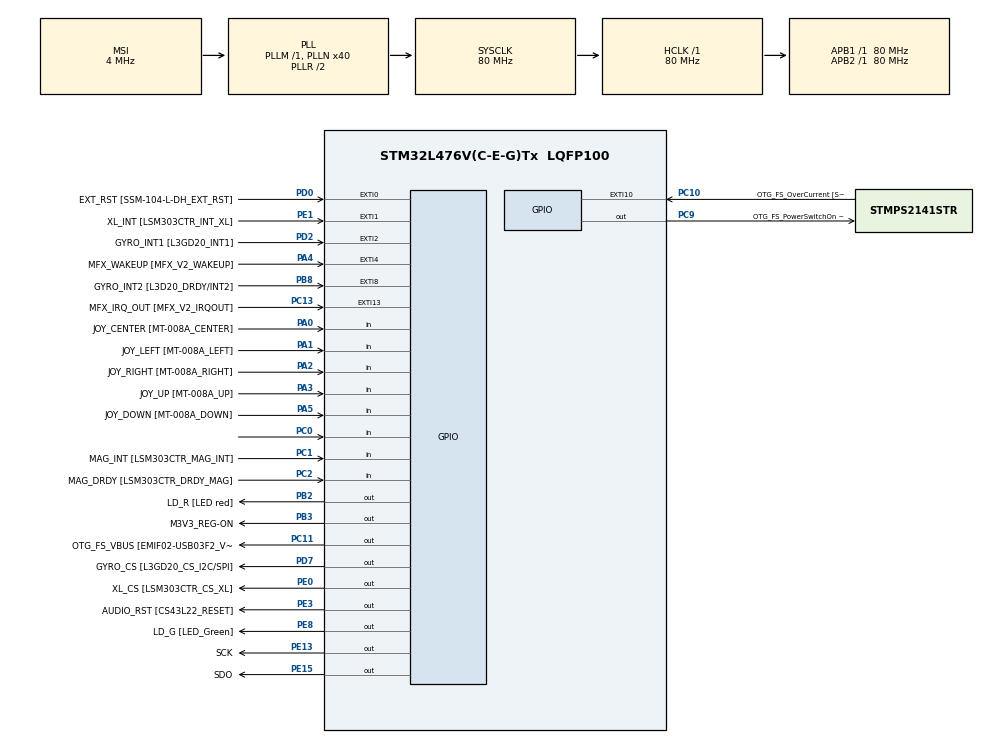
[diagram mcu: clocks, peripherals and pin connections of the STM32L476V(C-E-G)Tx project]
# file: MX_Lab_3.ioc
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Mcu.Family=STM32L4
Mcu.Name=STM32L476V(C-E-G)Tx
Mcu.Package=LQFP100
NVIC.PriorityGroup=NVIC_PRIORITYGROUP_4
PA0.GPIO_Label=JOY_CENTER [MT-008A_CENTER]
PA0.GPIO_Mode=GPIO_MODE_INPUT
PA0.GPIO_PuPd=GPIO_PULLDOWN
PA0.Signal=GPIO_Input
PA1.GPIO_Label=JOY_LEFT [MT-008A_LEFT]
PA1.GPIO_Mode=GPIO_MODE_INPUT
PA1.GPIO_PuPd=GPIO_PULLDOWN
PA1.Signal=GPIO_Input
PA10.GPIO_Label=COM2 [GH08172T_COM2]
PA10.GPIO_Mode=GPIO_MODE_AF_PP
PA10.GPIO_PuPd=GPIO_NOPULL
PA10.GPIO_Speed=GPIO_SPEED_FREQ_LOW
PA10.Signal=LCD_COM2
PA11.GPIO_Label=OTG_FS_DM [EMIF02-USB03F2_D-out]
PA11.GPIO_Mode=GPIO_MODE_AF_PP
PA11.GPIO_PuPd=GPIO_NOPULL
PA11.GPIO_Speed=GPIO_SPEED_FREQ_VERY_HIGH
PA11.Signal=USB_OTG_FS_DM
PA12.GPIO_Label=OTG_FS_DP [EMIF02-USB03F2_D+out]
PA12.GPIO_Mode=GPIO_MODE_AF_PP
PA12.GPIO_PuPd=GPIO_NOPULL
PA12.GPIO_Speed=GPIO_SPEED_FREQ_VERY_HIGH
PA12.Signal=USB_OTG_FS_DP
PA13\ (JTMS-SWDIO).GPIO_Label=SWDIO
PA13\ (JTMS-SWDIO).Mode=Serial_Wire
PA13\ (JTMS-SWDIO).Signal=SYS_JTMS-SWDIO
PA14\ (JTCK-SWCLK).GPIO_Label=SWCLK
PA14\ (JTCK-SWCLK).Mode=Serial_Wire
PA14\ (JTCK-SWCLK).Signal=SYS_JTCK-SWCLK
PA15\ (JTDI).GPIO_Label=SEG10 [GH08172T_SEG10]
PA15\ (JTDI).GPIO_Mode=GPIO_MODE_AF_PP
PA15\ (JTDI).GPIO_PuPd=GPIO_NOPULL
PA15\ (JTDI).GPIO_Speed=GPIO_SPEED_FREQ_LOW
PA15\ (JTDI).Signal=LCD_SEG17
PA2.GPIO_Label=JOY_RIGHT [MT-008A_RIGHT]
PA2.GPIO_Mode=GPIO_MODE_INPUT
PA2.GPIO_PuPd=GPIO_PULLDOWN
PA2.Signal=GPIO_Input
PA3.GPIO_Label=JOY_UP [MT-008A_UP]
PA3.GPIO_Mode=GPIO_MODE_INPUT
PA3.GPIO_PuPd=GPIO_PULLDOWN
PA3.Signal=GPIO_Input
PA4.GPIO_Label=MFX_WAKEUP [MFX_V2_WAKEUP]
PA4.GPIO_ModeDefaultEXTI=GPIO_MODE_EVT_RISING
PA4.GPIO_PuPd=GPIO_NOPULL
PA4.Signal=GPXTI4
PA5.GPIO_Label=JOY_DOWN [MT-008A_DOWN]
PA5.GPIO_Mode=GPIO_MODE_INPUT
PA5.GPIO_PuPd=GPIO_PULLDOWN
PA5.Signal=GPIO_Input
PA6.GPIO_Label=SEG23 [GH08172T_SEG23]
PA6.GPIO_Mode=GPIO_MODE_AF_PP
PA6.GPIO_PuPd=GPIO_NOPULL
PA6.GPIO_Speed=GPIO_SPEED_FREQ_LOW
PA6.Signal=LCD_SEG3
PA7.GPIO_Label=SEG0 [GH08172T_SEG0]
PA7.GPIO_Mode=GPIO_MODE_AF_PP
PA7.GPIO_PuPd=GPIO_NOPULL
PA7.GPIO_Speed=GPIO_SPEED_FREQ_LOW
PA7.Signal=LCD_SEG4
PA8.GPIO_Label=COM0 [GH08172T_COM0]
PA8.GPIO_Mode=GPIO_MODE_AF_PP
PA8.GPIO_PuPd=GPIO_NOPULL
PA8.GPIO_Speed=GPIO_SPEED_FREQ_LOW
PA8.Signal=LCD_COM0
PA9.GPIO_Label=COM1 [GH08172T_COM1]
PA9.GPIO_Mode=GPIO_MODE_AF_PP
PA9.GPIO_PuPd=GPIO_NOPULL
PA9.GPIO_Speed=GPIO_SPEED_FREQ_LOW
PA9.Signal=LCD_COM1
PB0.GPIO_Label=SEG21 [GH08172T_SEG21]
PB0.GPIO_Mode=GPIO_MODE_AF_PP
PB0.GPIO_PuPd=GPIO_NOPULL
PB0.GPIO_Speed=GPIO_SPEED_FREQ_LOW
PB0.Signal=LCD_SEG5
PB1.GPIO_Label=SEG2 [GH08172T_SEG2]
PB1.GPIO_Mode=GPIO_MODE_AF_PP
PB1.GPIO_PuPd=GPIO_NOPULL
PB1.GPIO_Speed=GPIO_SPEED_FREQ_LOW
PB1.Signal=LCD_SEG6
PB10.GPIO_Label=MFX_I2C_SLC [MFX_V2_I2C_SCL]
PB10.GPIO_Mode=GPIO_MODE_AF_OD
PB10.GPIO_Pu=GPIO_PULLUP
PB10.GPIO_Speed=GPIO_SPEED_FREQ_VERY_HIGH
PB10.Signal=I2C2_SCL
PB11.GPIO_Label=MFX_I2C_SDA [MFX_V2_I2C_SDA]
PB11.GPIO_Mode=GPIO_MODE_AF_OD
PB11.GPIO_Pu=GPIO_PULLUP
PB11.GPIO_Speed=GPIO_SPEED_FREQ_VERY_HIGH
PB11.Signal=I2C2_SDA
PB12.GPIO_Label=SEG20 [GH08172T_SEG20]
PB12.GPIO_Mode=GPIO_MODE_AF_PP
PB12.GPIO_PuPd=GPIO_NOPULL
PB12.GPIO_Speed=GPIO_SPEED_FREQ_LOW
PB12.Signal=LCD_SEG12
PB13.GPIO_Label=SEG3 [GH08172T_SEG3]
PB13.GPIO_Mode=GPIO_MODE_AF_PP
PB13.GPIO_PuPd=GPIO_NOPULL
PB13.GPIO_Speed=GPIO_SPEED_FREQ_LOW
PB13.Signal=LCD_SEG13
PB14.GPIO_Label=SEG19 [GH08172T_SEG19]
PB14.GPIO_Mode=GPIO_MODE_AF_PP
PB14.GPIO_PuPd=GPIO_NOPULL
PB14.GPIO_Speed=GPIO_SPEED_FREQ_LOW
PB14.Signal=LCD_SEG14
PB15.GPIO_Label=SEG4 [GH08172T_SEG4]
PB15.GPIO_Mode=GPIO_MODE_AF_PP
PB15.GPIO_PuPd=GPIO_NOPULL
PB15.GPIO_Speed=GPIO_SPEED_FREQ_LOW
PB15.Signal=LCD_SEG15
PB2.GPIO_Label=LD_R [LED red]
PB2.GPIO_ModeDefaultOutputPP=GPIO_MODE_OUTPUT_PP
PB2.GPIO_PuPd=GPIO_PULLUP
PB2.GPIO_Speed=GPIO_SPEED_FREQ_VERY_HIGH
PB2.Signal=GPIO_Output
PB3\ (JTDO-TRACESWO).GPIO_Label=M3V3_REG-ON
PB3\ (JTDO-TRACESWO).GPIO_ModeDefaultOutputPP=GPIO_MODE_OUTPUT_PP
PB3\ (JTDO-TRACESWO).GPIO_PuPd=GPIO_NOPULL
PB3\ (JTDO-TRACESWO).GPIO_Speed=GPIO_SPEED_FREQ_LOW
PB3\ (JTDO-TRACESWO).Signal=GPIO_Output
PB4\ (NJTRST).GPIO_Label=SEG11 [GH08172T_SEG11]
PB4\ (NJTRST).GPIO_Mode=GPIO_MODE_AF_PP
PB4\ (NJTRST).GPIO_PuPd=GPIO_NOPULL
PB4\ (NJTRST).GPIO_Speed=GPIO_SPEED_FREQ_LOW
PB4\ (NJTRST).Signal=LCD_SEG8
PB5.GPIO_Label=SEG12 [GH08172T_SEG12]
PB5.GPIO_Mode=GPIO_MODE_AF_PP
PB5.GPIO_PuPd=GPIO_NOPULL
PB5.GPIO_Speed=GPIO_SPEED_FREQ_LOW
PB5.Signal=LCD_SEG9
PB6.GPIO_FM6=__NULL
PB6.GPIO_Label=I2C1_SCL [SSM-104-L-DH_SCL]
PB6.GPIO_Mode=GPIO_MODE_AF_OD
PB6.GPIO_Pu=GPIO_PULLUP
PB6.GPIO_Speed=GPIO_SPEED_FREQ_VERY_HIGH
PB6.Signal=I2C1_SCL
PB7.GPIO_FM7=__NULL
PB7.GPIO_Label=I2C1_SDA [SSM-104-L-DH_SDA]
PB7.GPIO_Mode=GPIO_MODE_AF_OD
PB7.GPIO_Pu=GPIO_PULLUP
PB7.GPIO_Speed=GPIO_SPEED_FREQ_VERY_HIGH
PB7.Signal=I2C1_SDA
PB8.GPIO_Label=GYRO_INT2 [L3D20_DRDY/INT2]
PB8.GPIO_ModeDefaultEXTI=GPIO_MODE_EVT_RISING
PB8.GPIO_PuPd=GPIO_NOPULL
PB8.Signal=GPXTI8
PB9.GPIO_FM9=__NULL
PB9.GPIO_Label=COM3 [GH08172T_COM3]
PB9.GPIO_Mode=GPIO_MODE_AF_PP
PB9.GPIO_PuPd=GPIO_NOPULL
PB9.GPIO_Speed=GPIO_SPEED_FREQ_LOW
PB9.Signal=LCD_COM3
PC0.Signal=GPIO_Input
PC1.GPIO_Label=MAG_INT [LSM303CTR_MAG_INT]
PC1.GPIO_Mode=GPIO_MODE_INPUT
PC1.GPIO_PuPd=GPIO_NOPULL
PC1.Signal=GPIO_Input
PC10.GPIO_Label=OTG_FS_OverCurrent [STMPS2141STR_FAULT]
PC10.GPIO_ModeDefaultEXTI=GPIO_MODE_EVT_RISING
PC10.GPIO_PuPd=GPIO_NOPULL
PC10.Signal=GPXTI10
PC11.GPIO_Label=OTG_FS_VBUS [EMIF02-USB03F2_Vbus]
PC11.GPIO_ModeDefaultOutputPP=GPIO_MODE_OUTPUT_PP
PC11.GPIO_PuPd=GPIO_NOPULL
PC11.GPIO_Speed=GPIO_SPEED_FREQ_LOW
PC11.Signal=GPIO_Output
PC13.GPIO_Label=MFX_IRQ_OUT [MFX_V2_IRQOUT]
PC13.GPIO_ModeDefaultEXTI=GPIO_MODE_EVT_RISING
PC13.GPIO_PuPd=GPIO_NOPULL
PC13.Signal=GPXTI13
PC14-OSC32_IN\ (PC14).Mode=LSE-External-Oscillator
PC14-OSC32_IN\ (PC14).Signal=RCC_OSC32_IN
PC15-OSC32_OUT\ (PC15).Mode=LSE-External-Oscillator
PC15-OSC32_OUT\ (PC15).Signal=RCC_OSC32_OUT
PC2.GPIO_Label=MAG_DRDY [LSM303CTR_DRDY_MAG]
PC2.GPIO_Mode=GPIO_MODE_INPUT
PC2.GPIO_PuPd=GPIO_NOPULL
PC2.Signal=GPIO_Input
PC3.GPIO_Label=VLCD
PC3.GPIO_Mode=GPIO_MODE_AF_PP
PC3.GPIO_PuPd=GPIO_NOPULL
PC3.GPIO_Speed=GPIO_SPEED_FREQ_LOW
PC3.Signal=LCD_VLCD
PC4.GPIO_Label=SEG22 [GH08172T_SEG22]
PC4.GPIO_Mode=GPIO_MODE_AF_PP
PC4.GPIO_PuPd=GPIO_NOPULL
PC4.GPIO_Speed=GPIO_SPEED_FREQ_LOW
PC4.Signal=LCD_SEG22
PC5.GPIO_Label=SEG1 [GH08172T_SEG1]
PC5.GPIO_Mode=GPIO_MODE_AF_PP
PC5.GPIO_PuPd=GPIO_NOPULL
PC5.GPIO_Speed=GPIO_SPEED_FREQ_LOW
PC5.Signal=LCD_SEG23
PC6.GPIO_Label=SEG14 [GH08172T_SEG14]
PC6.GPIO_Mode=GPIO_MODE_AF_PP
PC6.GPIO_PuPd=GPIO_NOPULL
PC6.GPIO_Speed=GPIO_SPEED_FREQ_LOW
PC6.Signal=LCD_SEG24
PC7.GPIO_Label=SEG9 [GH08172T_SEG9]
PC7.GPIO_Mode=GPIO_MODE_AF_PP
PC7.GPIO_PuPd=GPIO_NOPULL
PC7.GPIO_Speed=GPIO_SPEED_FREQ_LOW
PC7.Signal=LCD_SEG25
PC8.GPIO_Label=SEG13 [GH08172T_SEG13]
PC8.GPIO_Mode=GPIO_MODE_AF_PP
PC8.GPIO_PuPd=GPIO_NOPULL
PC8.GPIO_Speed=GPIO_SPEED_FREQ_LOW
PC8.Signal=LCD_SEG26
PC9.GPIO_Label=OTG_FS_PowerSwitchOn [STMPS2141STR_EN]
PC9.GPIO_ModeDefaultOutputPP=GPIO_MODE_OUTPUT_PP
PC9.GPIO_PuPd=GPIO_NOPULL
PC9.GPIO_Speed=GPIO_SPEED_FREQ_LOW
PC9.PinState=GPIO_PIN_SET
PC9.Signal=GPIO_Output
PD0.GPIO_Label=EXT_RST [SSM-104-L-DH_EXT_RST]
PD0.GPIO_ModeDefaultEXTI=GPIO_MODE_EVT_RISING
PD0.GPIO_PuPd=GPIO_NOPULL
PD0.Signal=GPXTI0
PD1.GPIO_Label=MEMS_SCK [L3GD20_SCL/SPC]
PD1.GPIO_Mode=GPIO_MODE_AF_PP
PD1.GPIO_PuPd=GPIO_NOPULL
PD1.GPIO_Speed=GPIO_SPEED_FREQ_VERY_HIGH
PD1.Signal=SPI2_SCK
PD10.GPIO_Label=SEG17 [GH08172T_SEG17]
PD10.GPIO_Mode=GPIO_MODE_AF_PP
PD10.GPIO_PuPd=GPIO_NOPULL
PD10.GPIO_Speed=GPIO_SPEED_FREQ_LOW
PD10.Signal=LCD_SEG30
PD11.GPIO_Label=SEG6 [GH08172T_SEG6]
PD11.GPIO_Mode=GPIO_MODE_AF_PP
PD11.GPIO_PuPd=GPIO_NOPULL
PD11.GPIO_Speed=GPIO_SPEED_FREQ_LOW
PD11.Signal=LCD_SEG31
PD12.GPIO_Label=SEG16 [GH08172T_SEG16]
PD12.GPIO_Mode=GPIO_MODE_AF_PP
PD12.GPIO_PuPd=GPIO_NOPULL
PD12.GPIO_Speed=GPIO_SPEED_FREQ_LOW
PD12.Signal=LCD_SEG32
PD13.GPIO_Label=SEG7 [GH08172T_SEG7]
PD13.GPIO_Mode=GPIO_MODE_AF_PP
PD13.GPIO_PuPd=GPIO_NOPULL
PD13.GPIO_Speed=GPIO_SPEED_FREQ_LOW
PD13.Signal=LCD_SEG33
PD14.GPIO_Label=SEG15 [GH08172T_SEG15]
PD14.GPIO_Mode=GPIO_MODE_AF_PP
PD14.GPIO_PuPd=GPIO_NOPULL
PD14.GPIO_Speed=GPIO_SPEED_FREQ_LOW
PD14.Signal=LCD_SEG34
PD15.GPIO_Label=SEG8 [GH08172T_SEG8]
PD15.GPIO_Mode=GPIO_MODE_AF_PP
PD15.GPIO_PuPd=GPIO_NOPULL
PD15.GPIO_Speed=GPIO_SPEED_FREQ_LOW
PD15.Signal=LCD_SEG35
PD2.GPIO_Label=GYRO_INT1 [L3GD20_INT1]
PD2.GPIO_ModeDefaultEXTI=GPIO_MODE_EVT_RISING
PD2.GPIO_PuPd=GPIO_NOPULL
PD2.Signal=GPXTI2
PD3.GPIO_Label=MEMS_MISO [L3GD20_SA0/SDO]
PD3.GPIO_Mode=GPIO_MODE_AF_PP
PD3.GPIO_PuPd=GPIO_NOPULL
PD3.GPIO_Speed=GPIO_SPEED_FREQ_VERY_HIGH
PD3.Signal=SPI2_MISO
PD4.GPIO_Label=MEMS_MOSI [L3GD20_SDA/SDI/SDO]
PD4.GPIO_Mode=GPIO_MODE_AF_PP
PD4.GPIO_PuPd=GPIO_NOPULL
PD4.GPIO_Speed=GPIO_SPEED_FREQ_VERY_HIGH
PD4.Signal=SPI2_MOSI
PD5.GPIO_Label=USART_TX
PD5.GPIO_Mode=GPIO_MODE_AF_PP
PD5.GPIO_PuPd=GPIO_PULLUP
PD5.GPIO_Speed=GPIO_SPEED_FREQ_VERY_HIGH
PD5.Signal=USART2_TX
PD6.GPIO_Label=USART_RX
PD6.GPIO_Mode=GPIO_MODE_AF_PP
PD6.GPIO_PuPd=GPIO_PULLUP
PD6.GPIO_Speed=GPIO_SPEED_FREQ_VERY_HIGH
PD6.Signal=USART2_RX
PD7.GPIO_Label=GYRO_CS [L3GD20_CS_I2C/SPI]
PD7.GPIO_ModeDefaultOutputPP=GPIO_MODE_OUTPUT_PP
PD7.GPIO_PuPd=GPIO_NOPULL
PD7.GPIO_Speed=GPIO_SPEED_FREQ_VERY_HIGH
PD7.Signal=GPIO_Output
PD8.GPIO_Label=SEG18 [GH08172T_SEG18]
PD8.GPIO_Mode=GPIO_MODE_AF_PP
PD8.GPIO_PuPd=GPIO_NOPULL
PD8.GPIO_Speed=GPIO_SPEED_FREQ_LOW
PD8.Signal=LCD_SEG28
PD9.GPIO_Label=SEG5 [GH08172T_SEG5]
PD9.GPIO_Mode=GPIO_MODE_AF_PP
PD9.GPIO_PuPd=GPIO_NOPULL
PD9.GPIO_Speed=GPIO_SPEED_FREQ_LOW
PD9.Signal=LCD_SEG29
PE0.GPIO_Label=XL_CS [LSM303CTR_CS_XL]
PE0.GPIO_ModeDefaultOutputPP=GPIO_MODE_OUTPUT_PP
PE0.GPIO_PuPd=GPIO_NOPULL
PE0.GPIO_Speed=GPIO_SPEED_FREQ_LOW
PE0.Signal=GPIO_Output
PE1.GPIO_Label=XL_INT [LSM303CTR_INT_XL]
PE1.GPIO_ModeDefaultEXTI=GPIO_MODE_EVT_RISING
PE1.GPIO_PuPd=GPIO_NOPULL
PE1.Signal=GPXTI1
PE10.GPIO_Label=QSPI_CLK [N25Q128A13EF840E_C]
PE10.GPIO_Mode=GPIO_MODE_AF_PP
PE10.GPIO_PuPd=GPIO_NOPULL
PE10.GPIO_Speed=GPIO_SPEED_FREQ_VERY_HIGH
PE10.Signal=QUADSPI_CLK
PE11.GPIO_Label=QSPI_CS [N25Q128A13EF840E_S\#]
PE11.GPIO_Mode=GPIO_MODE_AF_PP
PE11.GPIO_PuPd=GPIO_NOPULL
PE11.GPIO_Speed=GPIO_SPEED_FREQ_VERY_HIGH
PE11.Signal=QUADSPI_NCS
PE12.GPIO_Label=QSPI_D0 [N25Q128A13EF840E_DQ0]
PE12.GPIO_Mode=GPIO_MODE_AF_PP
PE12.GPIO_PuPd=GPIO_NOPULL
PE12.GPIO_Speed=GPIO_SPEED_FREQ_VERY_HIGH
PE12.Signal=QUADSPI_BK1_IO0
PE13.GPIO_Label=SCK
PE13.GPIO_Speed=GPIO_SPEED_FREQ_MEDIUM
PE13.Signal=GPIO_Output
PE14.GPIO_Label=QSPI_D2 [N25Q128A13EF840E_DQ2]
PE14.GPIO_Mode=GPIO_MODE_AF_PP
PE14.GPIO_PuPd=GPIO_NOPULL
PE14.GPIO_Speed=GPIO_SPEED_FREQ_VERY_HIGH
PE14.Signal=QUADSPI_BK1_IO2
PE15.GPIO_Label=SDO
PE15.GPIO_Speed=GPIO_SPEED_FREQ_MEDIUM
PE15.Signal=GPIO_Output
PE2.GPIO_Label=SAI1_MCK [CS43L22_MCLK]
PE2.GPIO_Mode=GPIO_MODE_AF_PP
PE2.GPIO_PuPd=GPIO_NOPULL
PE2.GPIO_Speed=GPIO_SPEED_FREQ_VERY_HIGH
PE2.Signal=SAI1_MCLK_A
PE3.GPIO_Label=AUDIO_RST [CS43L22_RESET]
PE3.GPIO_ModeDefaultOutputPP=GPIO_MODE_OUTPUT_PP
PE3.GPIO_PuPd=GPIO_NOPULL
PE3.GPIO_Speed=GPIO_SPEED_FREQ_HIGH
PE3.Signal=GPIO_Output
PE4.GPIO_Label=SAI1_FS [CS43L22_LRCK]
PE4.GPIO_Mode=GPIO_MODE_AF_PP
PE4.GPIO_PuPd=GPIO_NOPULL
PE4.GPIO_Speed=GPIO_SPEED_FREQ_VERY_HIGH
PE4.Signal=SAI1_FS_A
PE5.GPIO_Label=SAI1_SCK [CS43L22_SCLK]
PE5.GPIO_Mode=GPIO_MODE_AF_PP
PE5.GPIO_PuPd=GPIO_NOPULL
PE5.GPIO_Speed=GPIO_SPEED_FREQ_VERY_HIGH
PE5.Signal=SAI1_SCK_A
PE6.GPIO_Label=SAI1_SD [CS43L22_SDIN]
PE6.GPIO_Mode=GPIO_MODE_AF_PP
PE6.GPIO_PuPd=GPIO_NOPULL
PE6.GPIO_Speed=GPIO_SPEED_FREQ_VERY_HIGH
PE6.Signal=SAI1_SD_A
PE7.GPIO_Label=AUDIO_DIN [MP34DT01_DOUT]
PE7.GPIO_Mode=GPIO_MODE_AF_PP
PE7.GPIO_PuPd=GPIO_NOPULL
PE7.GPIO_Speed=GPIO_SPEED_FREQ_VERY_HIGH
PE7.Signal=SAI1_SD_B
PE8.GPIO_Label=LD_G [LED_Green]
PE8.GPIO_ModeDefaultOutputPP=GPIO_MODE_OUTPUT_PP
PE8.GPIO_PuPd=GPIO_PULLUP
PE8.GPIO_Speed=GPIO_SPEED_FREQ_VERY_HIGH
PE8.Signal=GPIO_Output
PE9.GPIO_Label=AUDIO_CLK [MP34DT01_CLK]
PE9.GPIO_Mode=GPIO_MODE_AF_PP
PE9.GPIO_PuPd=GPIO_NOPULL
PE9.GPIO_Speed=GPIO_SPEED_FREQ_LOW
PE9.Signal=SAI1_FS_B
PH0-OSC_IN\ (PH0).Mode=HSE-External-Oscillator
PH0-OSC_IN\ (PH0).Signal=RCC_OSC_IN
PH1-OSC_OUT\ (PH1).Mode=HSE-External-Oscillator
PH1-OSC_OUT\ (PH1).Signal=RCC_OSC_OUT
ProjectManager.HeapSize=0x200
ProjectManager.StackSize=0x400
ProjectManager.TargetToolchain=MDK-ARM V5.32
RCC.ADCFreq_Value=48000000
RCC.AHBFreq_Value=80000000
RCC.APB1Freq_Value=80000000
RCC.APB1TimFreq_Value=80000000
RCC.APB2Freq_Value=80000000
RCC.APB2TimFreq_Value=80000000
RCC.CortexFreq_Value=80000000
RCC.HCLKFreq_Value=80000000
RCC.HSE_VALUE=8000000
RCC.HSI_VALUE=16000000
RCC.MSI_VALUE=4000000
RCC.PLLN=40
RCC.PLLSAI1N=24
RCC.PREFETCH_ENABLE=1
RCC.SYSCLKFreq_VALUE=80000000
RCC.SYSCLKSource=RCC_SYSCLKSOURCE_PLLCLK
RCC.USBFreq_Value=48000000
RCC.VCOOutputFreq_Value=160000000
VP_RTC_VS_RTC_Activate.Mode=RTC_Enabled
board=STM32L476G-DISCO

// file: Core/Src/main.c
/* USER CODE BEGIN Header */
/**
  ******************************************************************************
  * @file           : main.c
  * @brief          : Main program body
  ******************************************************************************
  * @attention
  *
  * Copyright (c) 2024 STMicroelectronics.
  * All rights reserved.
  *
  * This software is licensed under terms that can be found in the LICENSE file
  * in the root directory of this software component.
  * If no LICENSE file comes with this software, it is provided AS-IS.
  *
  ******************************************************************************
  */
/* USER CODE END Header */
#include "main.h"

RTC_HandleTypeDef hrtc;

void SystemClock_Config(void);
static void MX_GPIO_Init(void);
static void MX_RTC_Init(void);

/* USER CODE BEGIN 0 */
/*****************************
/ send 32 bits out the SPI port - MSB first
 send out the 32 bits of c
 sclk starts low and ends low
 SCK_Pin is the SPI clock pin;
 SCK_GPIO_Port is the port
 SDO_Pin is the SPI data pin;
 SDO_GPIO_Port is the port */
void spi32(unsigned int c)
{
	int i;
  for (i = 0; i < 32; ++i) {
      if (c & 0x80000000)
				{
            HAL_GPIO_WritePin(SDO_GPIO_Port, SDO_Pin, GPIO_PIN_SET);
				}
        else
				{
            HAL_GPIO_WritePin(SDO_GPIO_Port, SDO_Pin, GPIO_PIN_RESET);
				}
        HAL_GPIO_WritePin(SCK_GPIO_Port, SCK_Pin, GPIO_PIN_SET);
				HAL_GPIO_WritePin(SCK_GPIO_Port, SCK_Pin, GPIO_PIN_RESET);
        c <<= 1;
		}
}
void send_array(uint32_t header, uint32_t color, uint32_t end)
{
	int i;
	spi32(header);
	for(i=0; i < 60; i++)
	{
		spi32(color);
	}
	spi32(end);
}
/* USER CODE END 0 */

int main(void)
{

  /* MCU Configuration--------------------------------------------------------*/

  /* Reset of all peripherals, Initializes the Flash interface and the Systick. */
  HAL_Init();

  /* Configure the system clock */
  SystemClock_Config();

  /* Initialize all configured peripherals */
  MX_GPIO_Init();
  MX_RTC_Init();
  /* USER CODE BEGIN 2 */
	uint32_t start = 0x00000000;
	uint32_t end = 0xffffffff;
	uint32_t red = 0xe40000ff;
	uint32_t blue = 0xe4ff0000;
	uint32_t green = 0xe400ff00;
	send_array(start, red ,end);
  /* USER CODE END 2 */

  /* Infinite loop */
  while (1)
  {

  }
}

void SystemClock_Config(void)
{
  RCC_OscInitTypeDef RCC_OscInitStruct = {0};
  RCC_ClkInitTypeDef RCC_ClkInitStruct = {0};

  /** Configure the main internal regulator output voltage
  */
  if (HAL_PWREx_ControlVoltageScaling(PWR_REGULATOR_VOLTAGE_SCALE1) != HAL_OK)
  {
    Error_Handler();
  }

  /** Configure LSE Drive Capability
  */
  HAL_PWR_EnableBkUpAccess();
  __HAL_RCC_LSEDRIVE_CONFIG(RCC_LSEDRIVE_LOW);

  /** Initializes the RCC Oscillators according to the specified parameters
  * in the RCC_OscInitTypeDef structure.
  */
  RCC_OscInitStruct.OscillatorType = RCC_OSCILLATORTYPE_LSI|RCC_OSCILLATORTYPE_LSE
                              |RCC_OSCILLATORTYPE_MSI;
  RCC_OscInitStruct.LSEState = RCC_LSE_ON;
  RCC_OscInitStruct.LSIState = RCC_LSI_ON;
  RCC_OscInitStruct.MSIState = RCC_MSI_ON;
  RCC_OscInitStruct.MSICalibrationValue = 0;
  RCC_OscInitStruct.MSIClockRange = RCC_MSIRANGE_6;
  RCC_OscInitStruct.PLL.PLLState = RCC_PLL_ON;
  RCC_OscInitStruct.PLL.PLLSource = RCC_PLLSOURCE_MSI;
  RCC_OscInitStruct.PLL.PLLM = 1;
  RCC_OscInitStruct.PLL.PLLN = 40;
  RCC_OscInitStruct.PLL.PLLP = RCC_PLLP_DIV7;
  RCC_OscInitStruct.PLL.PLLQ = RCC_PLLQ_DIV2;
  RCC_OscInitStruct.PLL.PLLR = RCC_PLLR_DIV2;
  if (HAL_RCC_OscConfig(&RCC_OscInitStruct) != HAL_OK)
  {
    Error_Handler();
  }

  /** Initializes the CPU, AHB and APB buses clocks
  */
  RCC_ClkInitStruct.ClockType = RCC_CLOCKTYPE_HCLK|RCC_CLOCKTYPE_SYSCLK
                              |RCC_CLOCKTYPE_PCLK1|RCC_CLOCKTYPE_PCLK2;
  RCC_ClkInitStruct.SYSCLKSource = RCC_SYSCLKSOURCE_PLLCLK;
  RCC_ClkInitStruct.AHBCLKDivider = RCC_SYSCLK_DIV1;
  RCC_ClkInitStruct.APB1CLKDivider = RCC_HCLK_DIV1;
  RCC_ClkInitStruct.APB2CLKDivider = RCC_HCLK_DIV1;

  if (HAL_RCC_ClockConfig(&RCC_ClkInitStruct, FLASH_LATENCY_4) != HAL_OK)
  {
    Error_Handler();
  }

  /** Enable MSI Auto calibration
  */
  HAL_RCCEx_EnableMSIPLLMode();
}

static void MX_RTC_Init(void)
{

  /** Initialize RTC Only
  */
  hrtc.Instance = RTC;
  hrtc.Init.HourFormat = RTC_HOURFORMAT_24;
  hrtc.Init.AsynchPrediv = 127;
  hrtc.Init.SynchPrediv = 255;
  hrtc.Init.OutPut = RTC_OUTPUT_DISABLE;
  hrtc.Init.OutPutRemap = RTC_OUTPUT_REMAP_NONE;
  hrtc.Init.OutPutPolarity = RTC_OUTPUT_POLARITY_HIGH;
  hrtc.Init.OutPutType = RTC_OUTPUT_TYPE_OPENDRAIN;
  if (HAL_RTC_Init(&hrtc) != HAL_OK)
  {
    Error_Handler();
  }

}

static void MX_GPIO_Init(void)
{
  GPIO_InitTypeDef GPIO_InitStruct = {0};

  /* GPIO Ports Clock Enable */
  __HAL_RCC_GPIOE_CLK_ENABLE();
  __HAL_RCC_GPIOC_CLK_ENABLE();
  __HAL_RCC_GPIOH_CLK_ENABLE();
  __HAL_RCC_GPIOA_CLK_ENABLE();
  __HAL_RCC_GPIOB_CLK_ENABLE();
  __HAL_RCC_GPIOD_CLK_ENABLE();

  /*Configure GPIO pin Output Level */
  HAL_GPIO_WritePin(GPIOE, AUDIO_RST_Pin|LD_G_Pin|SCK_Pin|SDO_Pin
                          |XL_CS_Pin, GPIO_PIN_RESET);

  /*Configure GPIO pin Output Level */
  HAL_GPIO_WritePin(GPIOB, LD_R_Pin|M3V3_REG_ON_Pin, GPIO_PIN_RESET);

  /*Configure GPIO pin Output Level */
  HAL_GPIO_WritePin(OTG_FS_PowerSwitchOn_GPIO_Port, OTG_FS_PowerSwitchOn_Pin, GPIO_PIN_SET);

  /*Configure GPIO pin Output Level */
  HAL_GPIO_WritePin(OTG_FS_VBUS_GPIO_Port, OTG_FS_VBUS_Pin, GPIO_PIN_RESET);

  /*Configure GPIO pin Output Level */
  HAL_GPIO_WritePin(GYRO_CS_GPIO_Port, GYRO_CS_Pin, GPIO_PIN_RESET);

  /*Configure GPIO pins : SAI1_MCK_Pin SAI1_FS_Pin SAI1_SCK_Pin SAI1_SD_Pin
                           AUDIO_DIN_Pin */
  GPIO_InitStruct.Pin = SAI1_MCK_Pin|SAI1_FS_Pin|SAI1_SCK_Pin|SAI1_SD_Pin
                          |AUDIO_DIN_Pin;
  GPIO_InitStruct.Mode = GPIO_MODE_AF_PP;
  GPIO_InitStruct.Pull = GPIO_NOPULL;
  GPIO_InitStruct.Speed = GPIO_SPEED_FREQ_VERY_HIGH;
  GPIO_InitStruct.Alternate = GPIO_AF13_SAI1;
  HAL_GPIO_Init(GPIOE, &GPIO_InitStruct);

  /*Configure GPIO pin : AUDIO_RST_Pin */
  GPIO_InitStruct.Pin = AUDIO_RST_Pin;
  GPIO_InitStruct.Mode = GPIO_MODE_OUTPUT_PP;
  GPIO_InitStruct.Pull = GPIO_NOPULL;
  GPIO_InitStruct.Speed = GPIO_SPEED_FREQ_HIGH;
  HAL_GPIO_Init(AUDIO_RST_GPIO_Port, &GPIO_InitStruct);

  /*Configure GPIO pins : MFX_IRQ_OUT_Pin OTG_FS_OverCurrent_Pin */
  GPIO_InitStruct.Pin = MFX_IRQ_OUT_Pin|OTG_FS_OverCurrent_Pin;
  GPIO_InitStruct.Mode = GPIO_MODE_EVT_RISING;
  GPIO_InitStruct.Pull = GPIO_NOPULL;
  HAL_GPIO_Init(GPIOC, &GPIO_InitStruct);

  /*Configure GPIO pins : PC0 MAG_INT_Pin MAG_DRDY_Pin */
  GPIO_InitStruct.Pin = GPIO_PIN_0|MAG_INT_Pin|MAG_DRDY_Pin;
  GPIO_InitStruct.Mode = GPIO_MODE_INPUT;
  GPIO_InitStruct.Pull = GPIO_NOPULL;
  HAL_GPIO_Init(GPIOC, &GPIO_InitStruct);

  /*Configure GPIO pins : VLCD_Pin SEG22_Pin SEG1_Pin SEG14_Pin
                           SEG9_Pin SEG13_Pin */
  GPIO_InitStruct.Pin = VLCD_Pin|SEG22_Pin|SEG1_Pin|SEG14_Pin
                          |SEG9_Pin|SEG13_Pin;
  GPIO_InitStruct.Mode = GPIO_MODE_AF_PP;
  GPIO_InitStruct.Pull = GPIO_NOPULL;
  GPIO_InitStruct.Speed = GPIO_SPEED_FREQ_LOW;
  GPIO_InitStruct.Alternate = GPIO_AF11_LCD;
  HAL_GPIO_Init(GPIOC, &GPIO_InitStruct);

  /*Configure GPIO pins : JOY_CENTER_Pin JOY_LEFT_Pin JOY_RIGHT_Pin JOY_UP_Pin
                           JOY_DOWN_Pin */
  GPIO_InitStruct.Pin = JOY_CENTER_Pin|JOY_LEFT_Pin|JOY_RIGHT_Pin|JOY_UP_Pin
                          |JOY_DOWN_Pin;
  GPIO_InitStruct.Mode = GPIO_MODE_INPUT;
  GPIO_InitStruct.Pull = GPIO_PULLDOWN;
  HAL_GPIO_Init(GPIOA, &GPIO_InitStruct);

  /*Configure GPIO pin : MFX_WAKEUP_Pin */
  GPIO_InitStruct.Pin = MFX_WAKEUP_Pin;
  GPIO_InitStruct.Mode = GPIO_MODE_EVT_RISING;
  GPIO_InitStruct.Pull = GPIO_NOPULL;
  HAL_GPIO_Init(MFX_WAKEUP_GPIO_Port, &GPIO_InitStruct);

  /*Configure GPIO pins : SEG23_Pin SEG0_Pin COM0_Pin COM1_Pin
                           COM2_Pin SEG10_Pin */
  GPIO_InitStruct.Pin = SEG23_Pin|SEG0_Pin|COM0_Pin|COM1_Pin
                          |COM2_Pin|SEG10_Pin;
  GPIO_InitStruct.Mode = GPIO_MODE_AF_PP;
  GPIO_InitStruct.Pull = GPIO_NOPULL;
  GPIO_InitStruct.Speed = GPIO_SPEED_FREQ_LOW;
  GPIO_InitStruct.Alternate = GPIO_AF11_LCD;
  HAL_GPIO_Init(GPIOA, &GPIO_InitStruct);

  /*Configure GPIO pins : SEG21_Pin SEG2_Pin SEG20_Pin SEG3_Pin
                           SEG19_Pin SEG4_Pin SEG11_Pin SEG12_Pin
                           COM3_Pin */
  GPIO_InitStruct.Pin = SEG21_Pin|SEG2_Pin|SEG20_Pin|SEG3_Pin
                          |SEG19_Pin|SEG4_Pin|SEG11_Pin|SEG12_Pin
                          |COM3_Pin;
  GPIO_InitStruct.Mode = GPIO_MODE_AF_PP;
  GPIO_InitStruct.Pull = GPIO_NOPULL;
  GPIO_InitStruct.Speed = GPIO_SPEED_FREQ_LOW;
  GPIO_InitStruct.Alternate = GPIO_AF11_LCD;
  HAL_GPIO_Init(GPIOB, &GPIO_InitStruct);

  /*Configure GPIO pin : LD_R_Pin */
  GPIO_InitStruct.Pin = LD_R_Pin;
  GPIO_InitStruct.Mode = GPIO_MODE_OUTPUT_PP;
  GPIO_InitStruct.Pull = GPIO_PULLUP;
  GPIO_InitStruct.Speed = GPIO_SPEED_FREQ_VERY_HIGH;
  HAL_GPIO_Init(LD_R_GPIO_Port, &GPIO_InitStruct);

  /*Configure GPIO pin : LD_G_Pin */
  GPIO_InitStruct.Pin = LD_G_Pin;
  GPIO_InitStruct.Mode = GPIO_MODE_OUTPUT_PP;
  GPIO_InitStruct.Pull = GPIO_PULLUP;
  GPIO_InitStruct.Speed = GPIO_SPEED_FREQ_VERY_HIGH;
  HAL_GPIO_Init(LD_G_GPIO_Port, &GPIO_InitStruct);

  /*Configure GPIO pin : AUDIO_CLK_Pin */
  GPIO_InitStruct.Pin = AUDIO_CLK_Pin;
  GPIO_InitStruct.Mode = GPIO_MODE_AF_PP;
  GPIO_InitStruct.Pull = GPIO_NOPULL;
  GPIO_InitStruct.Speed = GPIO_SPEED_FREQ_LOW;
  GPIO_InitStruct.Alternate = GPIO_AF13_SAI1;
  HAL_GPIO_Init(AUDIO_CLK_GPIO_Port, &GPIO_InitStruct);

  /*Configure GPIO pins : QSPI_CLK_Pin QSPI_CS_Pin QSPI_D0_Pin QSPI_D2_Pin */
  GPIO_InitStruct.Pin = QSPI_CLK_Pin|QSPI_CS_Pin|QSPI_D0_Pin|QSPI_D2_Pin;
  GPIO_InitStruct.Mode = GPIO_MODE_AF_PP;
  GPIO_InitStruct.Pull = GPIO_NOPULL;
  GPIO_InitStruct.Speed = GPIO_SPEED_FREQ_VERY_HIGH;
  GPIO_InitStruct.Alternate = GPIO_AF10_QUADSPI;
  HAL_GPIO_Init(GPIOE, &GPIO_InitStruct);

  /*Configure GPIO pins : SCK_Pin SDO_Pin */
  GPIO_InitStruct.Pin = SCK_Pin|SDO_Pin;
  GPIO_InitStruct.Mode = GPIO_MODE_OUTPUT_PP;
  GPIO_InitStruct.Pull = GPIO_NOPULL;
  GPIO_InitStruct.Speed = GPIO_SPEED_FREQ_MEDIUM;
  HAL_GPIO_Init(GPIOE, &GPIO_InitStruct);

  /*Configure GPIO pins : MFX_I2C_SLC_Pin MFX_I2C_SDA_Pin */
  GPIO_InitStruct.Pin = MFX_I2C_SLC_Pin|MFX_I2C_SDA_Pin;
  GPIO_InitStruct.Mode = GPIO_MODE_AF_OD;
  GPIO_InitStruct.Pull = GPIO_PULLUP;
  GPIO_InitStruct.Speed = GPIO_SPEED_FREQ_VERY_HIGH;
  GPIO_InitStruct.Alternate = GPIO_AF4_I2C2;
  HAL_GPIO_Init(GPIOB, &GPIO_InitStruct);

  /*Configure GPIO pins : SEG18_Pin SEG5_Pin SEG17_Pin SEG6_Pin
                           SEG16_Pin SEG7_Pin SEG15_Pin SEG8_Pin */
  GPIO_InitStruct.Pin = SEG18_Pin|SEG5_Pin|SEG17_Pin|SEG6_Pin
                          |SEG16_Pin|SEG7_Pin|SEG15_Pin|SEG8_Pin;
  GPIO_InitStruct.Mode = GPIO_MODE_AF_PP;
  GPIO_InitStruct.Pull = GPIO_NOPULL;
  GPIO_InitStruct.Speed = GPIO_SPEED_FREQ_LOW;
  GPIO_InitStruct.Alternate = GPIO_AF11_LCD;
  HAL_GPIO_Init(GPIOD, &GPIO_InitStruct);

  /*Configure GPIO pins : OTG_FS_PowerSwitchOn_Pin OTG_FS_VBUS_Pin */
  GPIO_InitStruct.Pin = OTG_FS_PowerSwitchOn_Pin|OTG_FS_VBUS_Pin;
  GPIO_InitStruct.Mode = GPIO_MODE_OUTPUT_PP;
  GPIO_InitStruct.Pull = GPIO_NOPULL;
  GPIO_InitStruct.Speed = GPIO_SPEED_FREQ_LOW;
  HAL_GPIO_Init(GPIOC, &GPIO_InitStruct);

  /*Configure GPIO pins : OTG_FS_DM_Pin OTG_FS_DP_Pin */
  GPIO_InitStruct.Pin = OTG_FS_DM_Pin|OTG_FS_DP_Pin;
  GPIO_InitStruct.Mode = GPIO_MODE_AF_PP;
  GPIO_InitStruct.Pull = GPIO_NOPULL;
  GPIO_InitStruct.Speed = GPIO_SPEED_FREQ_VERY_HIGH;
  GPIO_InitStruct.Alternate = GPIO_AF10_OTG_FS;
  HAL_GPIO_Init(GPIOA, &GPIO_InitStruct);

  /*Configure GPIO pins : EXT_RST_Pin GYRO_INT1_Pin */
  GPIO_InitStruct.Pin = EXT_RST_Pin|GYRO_INT1_Pin;
  GPIO_InitStruct.Mode = GPIO_MODE_EVT_RISING;
  GPIO_InitStruct.Pull = GPIO_NOPULL;
  HAL_GPIO_Init(GPIOD, &GPIO_InitStruct);

  /*Configure GPIO pins : MEMS_SCK_Pin MEMS_MISO_Pin MEMS_MOSI_Pin */
  GPIO_InitStruct.Pin = MEMS_SCK_Pin|MEMS_MISO_Pin|MEMS_MOSI_Pin;
  GPIO_InitStruct.Mode = GPIO_MODE_AF_PP;
  GPIO_InitStruct.Pull = GPIO_NOPULL;
  GPIO_InitStruct.Speed = GPIO_SPEED_FREQ_VERY_HIGH;
  GPIO_InitStruct.Alternate = GPIO_AF5_SPI2;
  HAL_GPIO_Init(GPIOD, &GPIO_InitStruct);

  /*Configure GPIO pins : USART_TX_Pin USART_RX_Pin */
  GPIO_InitStruct.Pin = USART_TX_Pin|USART_RX_Pin;
  GPIO_InitStruct.Mode = GPIO_MODE_AF_PP;
  GPIO_InitStruct.Pull = GPIO_PULLUP;
  GPIO_InitStruct.Speed = GPIO_SPEED_FREQ_VERY_HIGH;
  GPIO_InitStruct.Alternate = GPIO_AF7_USART2;
  HAL_GPIO_Init(GPIOD, &GPIO_InitStruct);

  /*Configure GPIO pin : GYRO_CS_Pin */
  GPIO_InitStruct.Pin = GYRO_CS_Pin;
  GPIO_InitStruct.Mode = GPIO_MODE_OUTPUT_PP;
  GPIO_InitStruct.Pull = GPIO_NOPULL;
  GPIO_InitStruct.Speed = GPIO_SPEED_FREQ_VERY_HIGH;
  HAL_GPIO_Init(GYRO_CS_GPIO_Port, &GPIO_InitStruct);

  /*Configure GPIO pin : M3V3_REG_ON_Pin */
  GPIO_InitStruct.Pin = M3V3_REG_ON_Pin;
  GPIO_InitStruct.Mode = GPIO_MODE_OUTPUT_PP;
  GPIO_InitStruct.Pull = GPIO_NOPULL;
  GPIO_InitStruct.Speed = GPIO_SPEED_FREQ_LOW;
  HAL_GPIO_Init(M3V3_REG_ON_GPIO_Port, &GPIO_InitStruct);

  /*Configure GPIO pins : I2C1_SCL_Pin I2C1_SDA_Pin */
  GPIO_InitStruct.Pin = I2C1_SCL_Pin|I2C1_SDA_Pin;
  GPIO_InitStruct.Mode = GPIO_MODE_AF_OD;
  GPIO_InitStruct.Pull = GPIO_PULLUP;
  GPIO_InitStruct.Speed = GPIO_SPEED_FREQ_VERY_HIGH;
  GPIO_InitStruct.Alternate = GPIO_AF4_I2C1;
  HAL_GPIO_Init(GPIOB, &GPIO_InitStruct);

  /*Configure GPIO pin : GYRO_INT2_Pin */
  GPIO_InitStruct.Pin = GYRO_INT2_Pin;
  GPIO_InitStruct.Mode = GPIO_MODE_EVT_RISING;
  GPIO_InitStruct.Pull = GPIO_NOPULL;
  HAL_GPIO_Init(GYRO_INT2_GPIO_Port, &GPIO_InitStruct);

  /*Configure GPIO pin : XL_CS_Pin */
  GPIO_InitStruct.Pin = XL_CS_Pin;
  GPIO_InitStruct.Mode = GPIO_MODE_OUTPUT_PP;
  GPIO_InitStruct.Pull = GPIO_NOPULL;
  GPIO_InitStruct.Speed = GPIO_SPEED_FREQ_LOW;
  HAL_GPIO_Init(XL_CS_GPIO_Port, &GPIO_InitStruct);

  /*Configure GPIO pin : XL_INT_Pin */
  GPIO_InitStruct.Pin = XL_INT_Pin;
  GPIO_InitStruct.Mode = GPIO_MODE_EVT_RISING;
  GPIO_InitStruct.Pull = GPIO_NOPULL;
  HAL_GPIO_Init(XL_INT_GPIO_Port, &GPIO_InitStruct);

}

void Error_Handler(void)
{
  __disable_irq();
  while (1)
  {
  }
}
